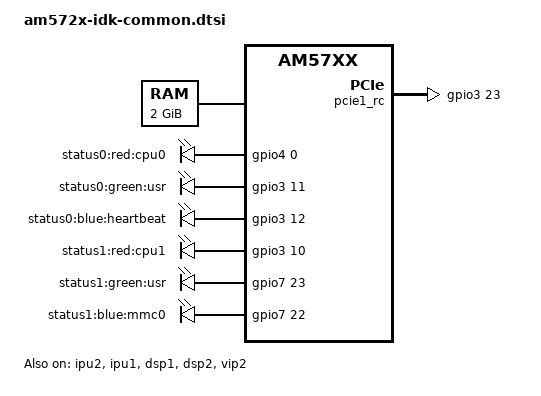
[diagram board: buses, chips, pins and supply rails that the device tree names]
// SPDX-License-Identifier: GPL-2.0
/*
 * Copyright (C) 2017 Texas Instruments Incorporated - http://www.ti.com/
 */

#include <dt-bindings/gpio/gpio.h>
#include <dt-bindings/interrupt-controller/irq.h>
#include "am57xx-idk-common.dtsi"
#include "dra74-ipu-dsp-common.dtsi"

/ {
	memory@0 {
		device_type = "memory";
		reg = <0x0 0x80000000 0x0 0x80000000>;
	};

	reserved-memory {
		#address-cells = <2>;
		#size-cells = <2>;
		ranges;

		ipu2_memory_region: ipu2-memory@95800000 {
			compatible = "shared-dma-pool";
			reg = <0x0 0x95800000 0x0 0x3800000>;
			reusable;
			status = "okay";
		};

		dsp1_memory_region: dsp1-memory@99000000 {
			compatible = "shared-dma-pool";
			reg = <0x0 0x99000000 0x0 0x4000000>;
			reusable;
			status = "okay";
		};

		ipu1_memory_region: ipu1-memory@9d000000 {
			compatible = "shared-dma-pool";
			reg = <0x0 0x9d000000 0x0 0x2000000>;
			reusable;
			status = "okay";
		};

		dsp2_memory_region: dsp2-memory@9f000000 {
			compatible = "shared-dma-pool";
			reg = <0x0 0x9f000000 0x0 0x800000>;
			reusable;
			status = "okay";
		};
	};

	status-leds {
		compatible = "gpio-leds";
		cpu0-led {
			label = "status0:red:cpu0";
			gpios = <&gpio4 0 GPIO_ACTIVE_HIGH>;
			default-state = "off";
			linux,default-trigger = "cpu0";
		};

		usr0-led {
			label = "status0:green:usr";
			gpios = <&gpio3 11 GPIO_ACTIVE_HIGH>;
			default-state = "off";
		};

		heartbeat-led {
			label = "status0:blue:heartbeat";
			gpios = <&gpio3 12 GPIO_ACTIVE_HIGH>;
			default-state = "off";
			linux,default-trigger = "heartbeat";
		};

		cpu1-led {
			label = "status1:red:cpu1";
			gpios = <&gpio3 10 GPIO_ACTIVE_HIGH>;
			default-state = "off";
			linux,default-trigger = "cpu1";
		};

		usr1-led {
			label = "status1:green:usr";
			gpios = <&gpio7 23 GPIO_ACTIVE_HIGH>;
			default-state = "off";
		};

		mmc0-led {
			label = "status1:blue:mmc0";
			gpios = <&gpio7 22 GPIO_ACTIVE_HIGH>;
			default-state = "off";
			linux,default-trigger = "mmc0";
		};
	};
};

&extcon_usb2 {
	id-gpio = <&gpio3 16 GPIO_ACTIVE_HIGH>;
	vbus-gpio = <&gpio3 26 GPIO_ACTIVE_HIGH>;
};

&sn65hvs882 {
	load-gpios = <&gpio3 19 GPIO_ACTIVE_LOW>;
};

&pcie1_rc {
	status = "okay";
	gpios = <&gpio3 23 GPIO_ACTIVE_HIGH>;
};

&ipu2 {
	status = "okay";
	memory-region = <&ipu2_memory_region>;
};

&ipu1 {
	status = "okay";
	memory-region = <&ipu1_memory_region>;
};

&dsp1 {
	status = "okay";
	memory-region = <&dsp1_memory_region>;
};

&dsp2 {
	status = "okay";
	memory-region = <&dsp2_memory_region>;
};

&ov2659_1 {
	remote-endpoint = <&vin4b_ep>;
};

&vin4b {
	vin4b_ep: endpoint@3 {
		slave-mode;
		remote-endpoint = <&ov2659_1>;
	};
};

&vip2 {
	status = "okay";
};

#include "dra7-ipu-common-early-boot.dtsi"
